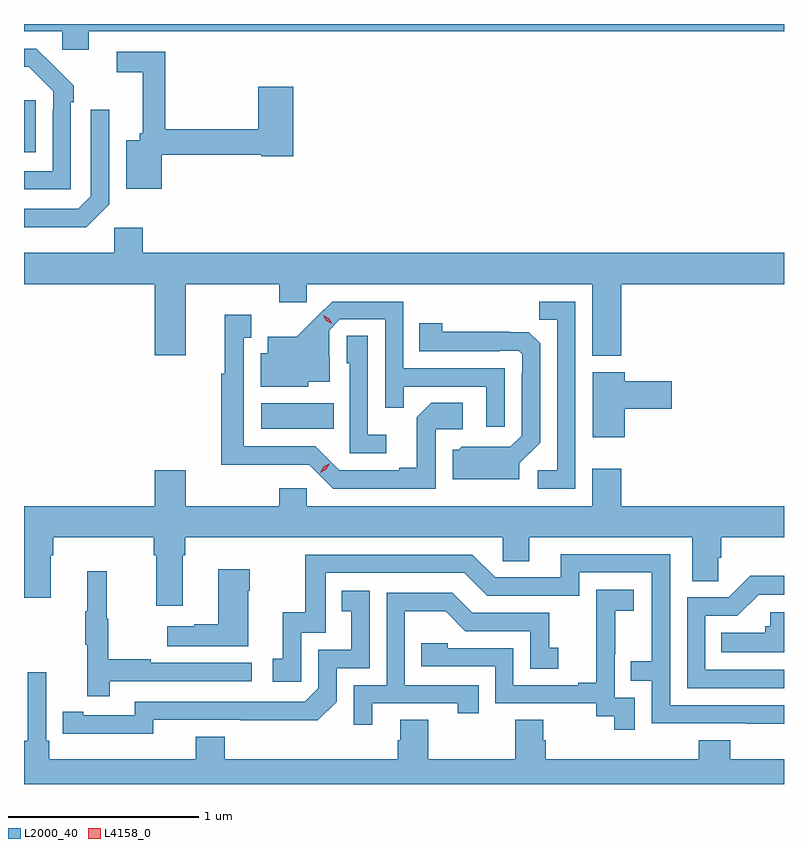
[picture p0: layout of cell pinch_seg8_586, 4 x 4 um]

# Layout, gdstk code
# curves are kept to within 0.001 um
import gdstk
lib = gdstk.Library(unit=1e-6, precision=1e-09)
def R(c, l, rs):  # rectangles x0, y0, x1, y1
    for r in rs: c.add(gdstk.rectangle(r[:2], r[2:], *l))
def P(c, l, *ps):  # polygons
    for p in ps: c.add(gdstk.Polygon(p, *l))
L2000_40 = (2000, 40)
L4158_0 = (4158, 0)

pinch_seg8_586 = lib.new_cell('pinch_seg8_586')
R(pinch_seg8_586, L2000_40, [(129.606,1099.754,129.986,1099.888), (128.357,1101.209,128.419,1101.484)])
P(pinch_seg8_586, L2000_40, [(128.698,1101.848),(132.357,1101.848),(132.357,1101.885),(128.357,1101.885),(128.357,1101.848),(128.559,1101.848),(128.559,1101.75),(128.698,1101.75)],
  [(128.604,1101.473),(128.619,1101.473),(128.619,1101.561),(128.422,1101.756),(128.357,1101.756),(128.357,1101.66),(128.383,1101.66),(128.511,1101.531),(128.511,1101.431),(128.508,1101.431),(128.508,1101.111),(128.357,1101.111),(128.357,1101.015),(128.604,1101.015)],
  [(129.082,1101.196),(129.606,1101.196),(129.606,1101.188),(129.773,1101.188),(129.773,1101.556),(129.59,1101.556),(129.59,1101.332),(129.101,1101.332),(129.101,1101.738),(128.844,1101.738),(128.844,1101.63),(128.983,1101.63),(128.983,1101.309),(128.966,1101.309),(128.966,1101.274),(128.894,1101.274),(128.894,1101.017),(129.082,1101.017)],
  [(128.805,1100.937),(128.805,1101.433),(128.709,1101.433),(128.709,1100.979),(128.643,1100.913),(128.357,1100.913),(128.357,1100.816),(128.684,1100.816)],
  [(131.501,1100.516),(132.357,1100.516),(132.357,1100.68),(128.983,1100.68),(128.983,1100.812),(128.832,1100.812),(128.832,1100.68),(128.357,1100.68),(128.357,1100.516),(129.044,1100.516),(129.044,1100.142),(129.208,1100.142),(129.208,1100.516),(129.7,1100.516),(129.7,1100.421),(129.846,1100.421),(129.846,1100.516),(131.348,1100.516),(131.348,1100.138),(131.501,1100.138)],
  [(130.887,1100.073),(130.353,1100.073),(130.353,1100.424),(129.98,1100.424),(129.793,1100.239),(129.641,1100.239),(129.641,1100.152),(129.602,1100.152),(129.602,1099.976),(129.852,1099.976),(129.852,1100.003),(129.967,1100.003),(129.967,1100.132),(129.963,1100.132),(129.963,1100.274),(130.02,1100.331),(130.257,1100.331),(130.257,1099.864),(130.355,1099.864),(130.355,1099.977),(130.791,1099.977),(130.791,1099.764),(130.887,1099.764)],
  [(131.259,1100.424),(131.068,1100.424),(131.068,1100.329),(131.163,1100.329),(131.163,1099.536),(131.061,1099.536),(131.061,1099.44),(131.259,1099.44)],
  [(130.524,1099.752),(130.666,1099.752),(130.666,1099.892),(130.501,1099.892),(130.425,1099.816),(130.425,1099.549),(130.331,1099.549),(130.331,1099.536),(130.017,1099.536),(129.891,1099.662),(129.514,1099.662),(129.514,1100.235),(129.553,1100.235),(129.553,1100.356),(129.413,1100.356),(129.413,1100.043),(129.396,1100.043),(129.396,1099.565),(129.858,1099.566),(129.984,1099.44),(130.524,1099.44)],
  [(130.963,1099.572),(131.073,1099.682),(131.073,1100.204),(131.014,1100.263),(130.557,1100.264),(130.557,1100.311),(130.438,1100.311),(130.438,1100.163),(130.862,1100.163),(130.862,1100.166),(130.962,1100.166),(130.98,1100.148),(130.98,1100.048),(130.977,1100.048),(130.977,1099.719),(130.917,1099.659),(130.66,1099.66),(130.644,1099.644),(130.613,1099.644),(130.613,1099.49),(130.963,1099.49)],
  [(130.264,1099.723),(130.167,1099.723),(130.167,1100.243),(130.056,1100.243),(130.056,1100.1),(130.071,1100.1),(130.071,1099.626),(130.264,1099.626)],
  [(131.518,1099.859),(131.767,1099.859),(131.767,1100.006),(131.518,1100.006),(131.518,1100.053),(131.351,1100.053),(131.351,1099.71),(131.518,1099.71)],
  [(129.193,1099.088),(129.206,1099.088),(129.206,1099.184),(130.878,1099.184),(130.878,1099.057),(131.017,1099.057),(131.017,1099.184),(131.873,1099.184),(131.873,1098.952),(132.012,1098.952),(132.012,1099.075),(132.026,1099.075),(132.026,1099.184),(132.357,1099.184),(132.357,1099.348),(131.501,1099.348),(131.501,1099.543),(131.348,1099.543),(131.348,1099.348),(129.846,1099.348),(129.846,1099.441),(129.7,1099.441),(129.7,1099.348),(129.208,1099.348),(129.208,1099.537),(129.044,1099.537),(129.044,1099.348),(128.357,1099.348),(128.357,1098.864),(128.497,1098.864),(128.497,1099.088),(128.51,1099.088),(128.51,1099.184),(129.041,1099.184),(129.041,1099.088),(129.053,1099.088),(129.053,1098.822),(129.193,1098.822)],
  [(132.357,1098.3),(131.757,1098.3),(131.757,1099.095),(131.183,1099.095),(131.183,1098.972),(130.836,1098.972),(130.716,1099.092),(129.837,1099.092),(129.837,1098.79),(129.719,1098.79),(129.719,1098.543),(129.666,1098.543),(129.666,1098.423),(129.816,1098.423),(129.816,1098.681),(129.945,1098.681),(129.945,1098.996),(130.674,1098.996),(130.794,1098.876),(131.28,1098.876),(131.28,1098.999),(131.661,1098.999),(131.661,1098.53),(131.551,1098.53),(131.551,1098.429),(131.661,1098.429),(131.661,1098.204),(132.357,1098.203)],
  [(129.538,1098.902),(129.546,1098.902),(129.546,1099.015),(129.38,1099.015),(129.38,1098.725),(129.254,1098.725),(129.254,1098.715),(129.111,1098.715),(129.111,1098.611),(129.538,1098.611)],
  [(128.807,1098.426),(129.556,1098.426),(129.556,1098.522),(129.023,1098.522),(129.023,1098.542),(128.8,1098.542),(128.8,1098.756),(128.792,1098.756),(128.792,1099.006),(128.69,1099.006),(128.69,1098.793),(128.679,1098.793),(128.679,1098.619),(128.69,1098.619),(128.69,1098.348),(128.807,1098.348)],
  [(132.357,1098.486),(131.943,1098.486),(131.943,1098.771),(132.112,1098.771),(132.223,1098.882),(132.357,1098.882),(132.357,1098.98),(132.179,1098.98),(132.066,1098.867),(131.847,1098.867),(131.847,1098.39),(132.357,1098.39)],
  [(131.571,1098.339),(131.466,1098.339),(131.466,1098.569),(131.468,1098.569),(131.468,1098.797),(131.566,1098.797),(131.566,1098.907),(131.368,1098.907),(131.368,1098.701),(131.369,1098.701),(131.369,1098.418),(131.273,1098.418),(131.273,1098.405),(130.932,1098.405),(130.932,1098.6),(130.587,1098.6),(130.587,1098.627),(130.447,1098.627),(130.447,1098.504),(130.836,1098.504),(130.836,1098.309),(131.37,1098.309),(131.37,1098.241),(131.463,1098.241),(131.463,1098.171),(131.571,1098.171)],
  [(129.036,1098.222),(129.904,1098.221),(130.002,1098.318),(130.002,1098.495),(130.176,1098.495),(130.176,1098.901),(130.03,1098.901),(130.03,1098.795),(130.079,1098.795),(130.079,1098.591),(129.906,1098.591),(129.906,1098.39),(129.834,1098.318),(128.94,1098.318),(128.94,1098.246),(128.668,1098.246),(128.668,1098.266),(128.56,1098.266),(128.56,1098.15),(129.036,1098.149)],
  [(130.189,1098.309),(130.64,1098.309),(130.64,1098.258),(130.751,1098.258),(130.751,1098.405),(130.362,1098.405),(130.362,1098.794),(130.576,1098.794),(130.68,1098.69),(131.022,1098.69),(131.022,1098.492),(131.17,1098.492),(131.17,1098.601),(131.121,1098.601),(131.121,1098.786),(130.717,1098.786),(130.612,1098.891),(130.266,1098.891),(130.266,1098.405),(130.092,1098.405),(130.092,1098.198),(130.189,1098.198)],
  [(132.357,1098.79),(132.285,1098.79),(132.285,1098.714),(132.259,1098.714),(132.259,1098.682),(132.028,1098.682),(132.028,1098.578),(132.357,1098.578)],
  [(131.102,1098.114),(131.089,1098.114),(131.089,1098.224),(130.942,1098.224),(130.942,1098.016),(130.485,1098.016),(130.485,1098.224),(130.337,1098.224),(130.337,1098.114),(130.325,1098.114),(130.325,1098.016),(129.413,1098.016),(129.413,1098.133),(129.26,1098.133),(129.26,1098.016),(128.489,1098.016),(128.489,1098.112),(128.475,1098.112),(128.475,1098.472),(128.378,1098.472),(128.378,1098.112),(128.359,1098.112),(128.359,1098.016),(128.357,1098.016),(128.357,1097.885),(132.357,1097.885),(132.357,1098.016),(132.074,1098.016),(132.074,1098.115),(131.909,1098.115),(131.909,1098.016),(131.102,1098.016)])
P(pinch_seg8_586, L4158_0, [(129.917,1099.522),(129.917,1099.522),(129.934,1099.555),(129.966,1099.574),(129.966,1099.574),(129.966,1099.573),(129.949,1099.541),(129.917,1099.522)],
  [(129.979,1100.308),(129.949,1100.322),(129.931,1100.351),(129.931,1100.351),(129.931,1100.351),(129.962,1100.337),(129.98,1100.308),(129.98,1100.308)])

lib.write_gds('pinch_seg8_586.gds')
